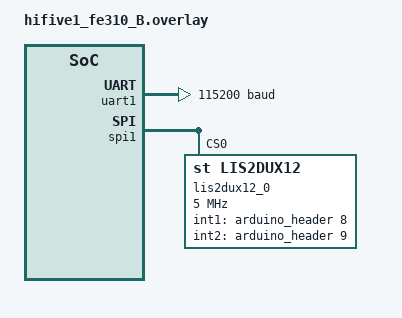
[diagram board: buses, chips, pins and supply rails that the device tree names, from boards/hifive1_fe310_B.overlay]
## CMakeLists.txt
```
# SPDX-License-Identifier: Apache-2.0

cmake_minimum_required(VERSION 3.20.0)

find_package(Zephyr REQUIRED HINTS $ENV{ZEPHYR_BASE})
project(hello_world)

target_sources(app PRIVATE src/main.c)

# external library part
set(otd_lib_dir ${CMAKE_CURRENT_SOURCE_DIR}/otd_lib)

add_library(lib_otd STATIC IMPORTED GLOBAL)
set_target_properties(lib_otd PROPERTIES IMPORTED_LOCATION ${otd_lib_dir}/lib_otd.a)
add_library(lib_common_utils STATIC IMPORTED GLOBAL)
set_target_properties(lib_common_utils PROPERTIES IMPORTED_LOCATION ${otd_lib_dir}/lib_common_utils.a)

target_include_directories(app PRIVATE ${otd_lib_dir})

target_link_libraries(app PRIVATE lib_otd lib_common_utils)
```

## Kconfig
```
config PRINT_ACCEL_DATA
	bool "Print Accel data"
	default n

source "Kconfig.zephyr"
```

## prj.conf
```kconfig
CONFIG_LOG=y
CONFIG_STDOUT_CONSOLE=y
CONFIG_SPI=y
CONFIG_SENSOR=y
CONFIG_SENSOR_LOG_LEVEL_DBG=y
CONFIG_LIS2DUX12_TRIGGER_OWN_THREAD=y
CONFIG_LIS2DUX12_ENABLE_TEMP=n
CONFIG_CBPRINTF_FP_SUPPORT=y
CONFIG_PRINT_ACCEL_DATA=y
```

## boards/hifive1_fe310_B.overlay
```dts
#include <zephyr/dt-bindings/sensor/lsm6dsv16x.h>

/*
 * RS232 usart
 */

&uart1 {
	status = "okay";
	current-speed = <115200>;
	clock-frequency = <16000000>;
};

&spi1 {
	lis2dux12_0: lis2dux12@0 {
		compatible = "st,lis2dux12";

		reg = <0>;
		spi-max-frequency = <DT_FREQ_M(5)>;
		int1-gpios =  <&arduino_header 8 GPIO_ACTIVE_HIGH>; /* D2 */
		#int1-gpios =  <&arduino_header 5 GPIO_ACTIVE_HIGH>; /* A5 */
		int2-gpios =  <&arduino_header 9 GPIO_ACTIVE_HIGH>; /* thru USER_INT on D2 */
		drdy-pin = <1>;
	};
};
```

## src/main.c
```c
/*
 * Copyright (c) 2012-2014 Wind River Systems, Inc.
 *
 * SPDX-License-Identifier: Apache-2.0
 */

#include <zephyr/kernel.h>
#include <zephyr/device.h>
#include <zephyr/drivers/gpio.h>
#include <zephyr/drivers/led.h>
#include <zephyr/drivers/sensor.h>
#include <stdio.h>
#include <zephyr/sys/util.h>
#include "common_utils.h"
#include "otd.h"

#ifdef CONFIG_LIS2DUX12_TRIGGER
static struct k_sem lis2dux12_acc_drdy;
static int lis2dux12_acc_trig_cnt;

static void lis2dux12_acc_trig_handler(const struct device *dev,
				       const struct sensor_trigger *trig)
{
	lis2dux12_acc_trig_cnt++;
	k_sem_give(&lis2dux12_acc_drdy);
}
#endif

static void lis2dux12_config(const struct device *lis2dux12)
{
	struct sensor_value odr_attr, fs_attr;

	/* set LSM6DSV16X accel sampling frequency to 408 Hz */
	odr_attr.val1 = 100;
	odr_attr.val2 = 0;

	if (sensor_attr_set(lis2dux12, SENSOR_CHAN_ACCEL_XYZ,
			    SENSOR_ATTR_SAMPLING_FREQUENCY, &odr_attr) < 0) {
		printk("Cannot set sampling frequency for LSM6DSV16X accel\n");
		return;
	}

	sensor_g_to_ms2(8, &fs_attr);

	if (sensor_attr_set(lis2dux12, SENSOR_CHAN_ACCEL_XYZ,
			    SENSOR_ATTR_FULL_SCALE, &fs_attr) < 0) {
		printk("Cannot set fs for LSM6DSV16X accel\n");
		return;
	}

#ifdef CONFIG_LIS2DUX12_TRIGGER
	struct sensor_trigger trig;

	trig.type = SENSOR_TRIG_DATA_READY;
	trig.chan = SENSOR_CHAN_ACCEL_XYZ;
	sensor_trigger_set(lis2dux12, &trig, lis2dux12_acc_trig_handler);
#endif
}

static const struct gpio_dt_spec green_gpio = GPIO_DT_SPEC_GET(DT_ALIAS(led0), gpios);
static const struct gpio_dt_spec blue_gpio = GPIO_DT_SPEC_GET(DT_ALIAS(led1), gpios);
static const struct gpio_dt_spec red_gpio = GPIO_DT_SPEC_GET(DT_ALIAS(led2), gpios);

static int led_pattern(void)
{
	int i;

	/* led 0 */
	if (!gpio_is_ready_dt(&green_gpio)) {
		printk("%s: device not ready.\n", green_gpio.port->name);
		return -1;
	}
	gpio_pin_configure_dt(&green_gpio, GPIO_OUTPUT_INACTIVE);

	/* led 1 */
	if (!gpio_is_ready_dt(&blue_gpio)) {
		printk("%s: device not ready.\n", blue_gpio.port->name);
		return -1;
	}
	gpio_pin_configure_dt(&blue_gpio, GPIO_OUTPUT_INACTIVE);

	/* led 2 */
	if (!gpio_is_ready_dt(&red_gpio)) {
		printk("%s: device not ready.\n", red_gpio.port->name);
		return -1;
	}
	gpio_pin_configure_dt(&red_gpio, GPIO_OUTPUT_INACTIVE);

	/* output led alternate pattern */
	for (i = 0; i < 9; i++) {
		gpio_pin_set_dt(&green_gpio, ((i % 3) == 0) ? 1 : 0);
		gpio_pin_set_dt(&blue_gpio, ((i % 3) == 1) ? 1 : 0);
		gpio_pin_set_dt(&red_gpio, ((i % 3) == 2) ? 1 : 0);
		k_msleep(200);
	}

	/* turn all leds off but blue */
	gpio_pin_set_dt(&green_gpio, 0);
	gpio_pin_set_dt(&blue_gpio, 1);
	gpio_pin_set_dt(&red_gpio, 0);

	return 0;
}

int main(void)
{
	struct sensor_value lis2dux12_xl[3];
	int16_t acc_data[3];
#ifdef CONFIG_LIS2DUX12_ENABLE_TEMP
	struct sensor_value lis2dux12_temp;
#endif
	const struct device *const lis2dux12 = DEVICE_DT_GET_ONE(st_lis2dux12);

	led_pattern();

#ifdef CONFIG_LIS2DUX12_TRIGGER
	k_sem_init(&lis2dux12_acc_drdy, 0, K_SEM_MAX_LIMIT);
#endif

	if (!device_is_ready(lis2dux12)) {
		printk("%s: device not ready.\n", lis2dux12->name);
		return 0;
	}
	printk("%s: device is ready\n", lis2dux12->name);

	lis2dux12_config(lis2dux12);

	// Get Utils library version
	char common_utils_ver[12];

	common_utils_get_version(common_utils_ver, 12);
	printf("[LIB] Common utils library version: %s\n", common_utils_ver);

	// Initialize On-Table Detection library
	otd_init_status_t otd_init_status;
	otd_state_t *otd_state;
	uint8_t otd_decimator;

	char otd_ver[12];
	otd_get_version(otd_ver, 12);
	printf("[LIB] On-Table Detection version: %s\n", otd_ver);

	otd_state = otd_get_instance(0);
	if (otd_state == NULL)
	{
		printf("[LIB] On-Table Detection null algorithm instance\n");
		return -1;
	}

	otd_model_t otd_model;
	otd_config_t otd_config;
	otd_model = OTD_MODEL_2;
	otd_config = otd_get_default_config();
	otd_config.hyst_ontable_ths = 20.0f;
	otd_config.hyst_onlap_ths = 5.0f;
	otd_config.hyst_other_ths = 5.0f;

	otd_init_status = otd_init(otd_state, &otd_config, OTD_META_DECREMENT, otd_model);
	if (otd_init_status != OTD_INIT_SUCCESS)
	{
		printf("[LIB] On-Table Detection init failed with error %d\n", otd_init_status);
		return -1;
	}
	otd_decimator = 4;

	while (1) {
		//gpio_pin_toggle_dt(&green_gpio);
		//gpio_pin_toggle_dt(&green_gpio);
		/* Get sensor samples */

#ifdef CONFIG_LIS2DUX12_TRIGGER
		k_sem_take(&lis2dux12_acc_drdy, K_FOREVER);
#else
		k_sleep(K_MSEC(10));
#endif
		if (sensor_sample_fetch(lis2dux12) < 0) {
			printf("LIS2DUX12 XL Sensor sample update error\n");
			return 0;
		}

		/* Get sensor data */
		sensor_channel_get(lis2dux12, SENSOR_CHAN_ACCEL_XYZ, lis2dux12_xl);

		otd_output_t otd_out_raw;
		otd_output_t otd_out_meta;
		otd_input_t otd_in;

		for (uint8_t i = 0; i < 3; i++) {
			acc_data[i] = sensor_ms2_to_mg(&lis2dux12_xl[i]);
			otd_in.acc[i] = acc_data[i];
		}

		if (otd_run(otd_state, &otd_out_raw, &otd_out_meta, &otd_in))
		{
			printf("[LIB] Current On-Table Detection output:\t%d\n", otd_out_meta);
		}

#ifdef CONFIG_PRINT_ACCEL_DATA
		/* Display sensor data */
		printf("LIS2DUX12: Accel (m.s-2): x: %.3f, y: %.3f, z: %.3f\n",
			sensor_value_to_double(&lis2dux12_xl[0]),
			sensor_value_to_double(&lis2dux12_xl[1]),
			sensor_value_to_double(&lis2dux12_xl[2]));
#endif

#ifdef CONFIG_LIS2DUX12_TRIGGER
		if (lis2dux12_acc_trig_cnt % 100 == 99)
			printf("lis2dux12 acc trig %d\n", lis2dux12_acc_trig_cnt);
#endif
	}

	return 0;
}
```
